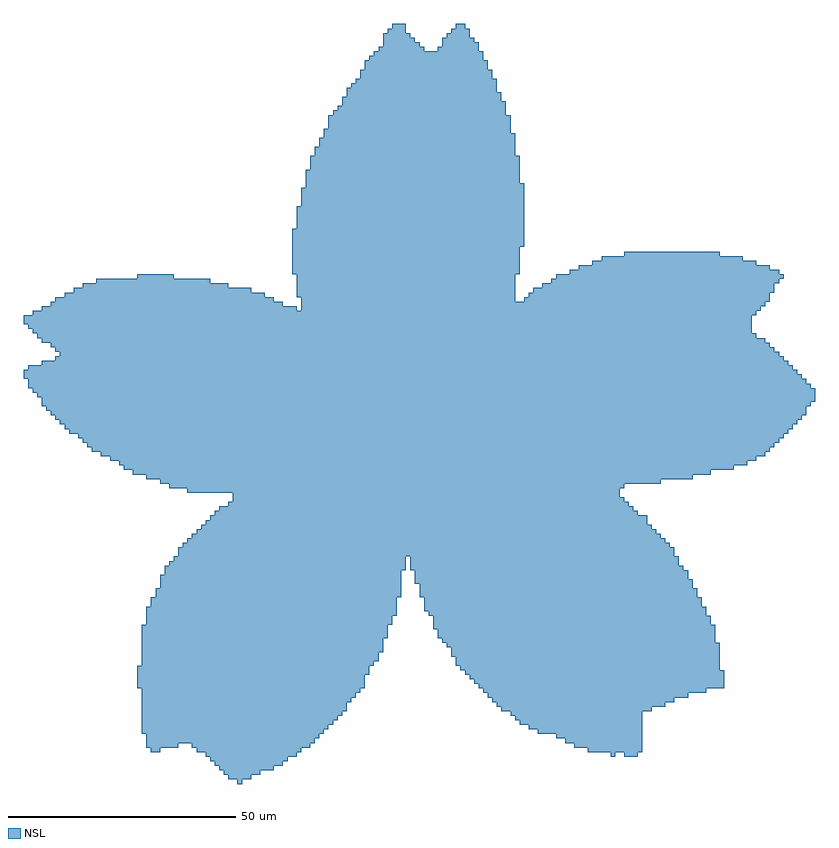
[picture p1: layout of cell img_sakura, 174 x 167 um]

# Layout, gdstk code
import gdstk
lib = gdstk.Library(unit=1e-6, precision=1e-09)
def R(c, l, rs):  # rectangles x0, y0, x1, y1
    for r in rs: c.add(gdstk.rectangle(r[:2], r[2:], *l))
def A(c, l, x, y, w, h, nx, ny, dx, dy):  # array of equal rectangles
    R(c, l, [(x+i*dx, y+j*dy, x+i*dx+w, y+j*dy+h) for i in range(nx) for j in range(ny)])
NSL = (8, 0)

img_sakura = lib.new_cell('img_sakura')
A(img_sakura, NSL, 27, -146, 50, 1, 1, 3, 0, 1)
A(img_sakura, NSL, 28, -138, 53, 1, 1, 3, 0, 1)
A(img_sakura, NSL, 28, -135, 54, 1, 1, 3, 0, 1)
A(img_sakura, NSL, 32, -124, 53, 1, 1, 3, 0, 1)
A(img_sakura, NSL, 62, -60, 48, 1, 1, 5, 0, 1)
A(img_sakura, NSL, 61, -55, 50, 1, 1, 6, 0, 1)
A(img_sakura, NSL, 61, -49, 51, 1, 1, 4, 0, 1)
A(img_sakura, NSL, 62, -45, 50, 1, 1, 5, 0, 1)
A(img_sakura, NSL, 63, -40, 49, 1, 1, 4, 0, 1)
A(img_sakura, NSL, 64, -35, 47, 1, 1, 3, 0, 1)
A(img_sakura, NSL, 65, -32, 46, 1, 1, 3, 0, 1)
A(img_sakura, NSL, 69, -23, 40, 1, 1, 3, 0, 1)
R(img_sakura, NSL, [(49,-167,50,-166), (47,-166,52,-165), (46,-165,54,-164), (45,-164,57,-163), (44,-163,59,-162), (43,-162,60,-161), (42,-161,62,-160), (131,-161,132,-160), (134,-161,137,-160), (30,-160,32,-159), (40,-160,63,-159), (126,-160,138,-159), (29,-159,36,-158), (39,-159,65,-158), (123,-159,138,-158), (29,-158,66,-157), (121,-158,138,-157), (29,-157,67,-156), (119,-157,138,-156), (28,-156,68,-155), (115,-156,138,-155), (28,-155,69,-154), (113,-155,138,-154), (28,-154,70,-153), (111,-154,138,-153), (28,-153,71,-152), (110,-153,138,-152), (28,-152,72,-151), (109,-152,138,-151), (28,-151,73,-150), (107,-151,140,-150), (28,-150,73,-149), (106,-150,143,-149), (28,-149,74,-148), (105,-149,145,-148), (28,-148,75,-147), (104,-148,148,-147), (28,-147,76,-146), (103,-147,152,-146), (102,-146,156,-145), (101,-145,156,-144), (100,-144,156,-143), (27,-143,78,-142), (99,-143,156,-142), (27,-142,78,-141), (98,-142,155,-141), (28,-141,79,-140), (97,-141,155,-140), (28,-140,80,-139), (97,-140,155,-139), (28,-139,80,-138), (96,-139,155,-138), (96,-138,155,-137), (95,-137,155,-136), (94,-136,154,-135), (93,-135,154,-134), (93,-134,154,-133), (92,-133,154,-132), (29,-132,83,-131), (92,-132,153,-131), (29,-131,83,-130), (92,-131,153,-130), (29,-130,84,-129), (91,-130,152,-129), (29,-129,84,-128), (90,-129,152,-128), (30,-128,84,-127), (90,-128,151,-127), (30,-127,84,-126), (90,-127,151,-126), (31,-126,85,-125), (89,-126,150,-125), (31,-125,85,-124), (89,-125,150,-124), (89,-124,149,-123), (88,-123,149,-122), (88,-122,148,-121), (33,-121,85,-120), (88,-121,148,-120), (33,-120,86,-119), (87,-120,147,-119), (34,-119,86,-118), (87,-119,146,-118), (35,-118,86,-117), (87,-118,146,-117), (36,-117,145,-116), (36,-116,145,-115), (37,-115,144,-114), (38,-114,143,-113), (39,-113,142,-112), (40,-112,141,-111), (41,-111,140,-110), (42,-110,139,-109), (43,-109,139,-108), (44,-108,137,-107), (45,-107,136,-106), (47,-106,135,-105), (48,-105,134,-104), (48,-104,133,-103), (38,-103,133,-102), (34,-102,134,-101), (32,-101,142,-100), (29,-100,149,-99), (26,-99,153,-98), (24,-98,158,-97), (23,-97,161,-96), (21,-96,163,-95), (19,-95,165,-94), (17,-94,166,-93), (16,-93,167,-92), (15,-92,168,-91), (14,-91,169,-90), (12,-90,170,-89), (11,-89,171,-88), (10,-88,172,-87), (9,-87,173,-86), (8,-86,174,-85), (7,-85,174,-84), (6,-84,175,-83), (6,-83,176,-82), (5,-82,176,-81), (4,-81,176,-80), (3,-80,175,-79), (3,-79,174,-78), (2,-78,173,-77), (2,-77,172,-76), (3,-76,171,-75), (6,-75,170,-74), (9,-74,169,-73), (10,-73,168,-72), (9,-72,167,-71), (8,-71,166,-70), (6,-70,165,-69), (5,-69,163,-68), (4,-68,162,-67), (3,-67,162,-66), (2,-66,162,-65), (2,-65,162,-64), (4,-64,163,-63), (6,-63,62,-62), (63,-63,164,-62), (8,-62,59,-61), (63,-62,165,-61), (9,-61,57,-60), (63,-61,110,-60), (112,-61,166,-60), (11,-60,55,-59), (113,-60,166,-59), (13,-59,52,-58), (114,-59,167,-58), (15,-58,47,-57), (116,-58,167,-57), (18,-57,43,-56), (118,-57,168,-56), (27,-56,35,-55), (119,-56,169,-55), (122,-55,168,-54), (124,-54,166,-53), (127,-53,163,-52), (129,-52,160,-51), (134,-51,155,-50), (64,-36,112,-35), (66,-29,110,-28), (66,-28,110,-27), (67,-27,110,-26), (67,-26,110,-25), (68,-25,110,-24), (68,-24,109,-23), (70,-20,108,-19), (71,-19,108,-18), (72,-18,108,-17), (72,-17,107,-16), (73,-16,107,-15), (73,-15,106,-14), (74,-14,106,-13), (75,-13,106,-12), (76,-12,105,-11), (76,-11,105,-10), (77,-10,104,-9), (77,-9,104,-8), (78,-8,103,-7), (79,-7,103,-6), (80,-6,90,-5), (93,-6,102,-5), (81,-5,89,-4), (94,-5,102,-4), (81,-4,88,-3), (94,-4,101,-3), (81,-3,87,-2), (95,-3,100,-2), (82,-2,86,-1), (96,-2,100,-1), (83,-1,86,0), (97,-1,99,0)])

lib.write_gds('img_sakura.gds')
